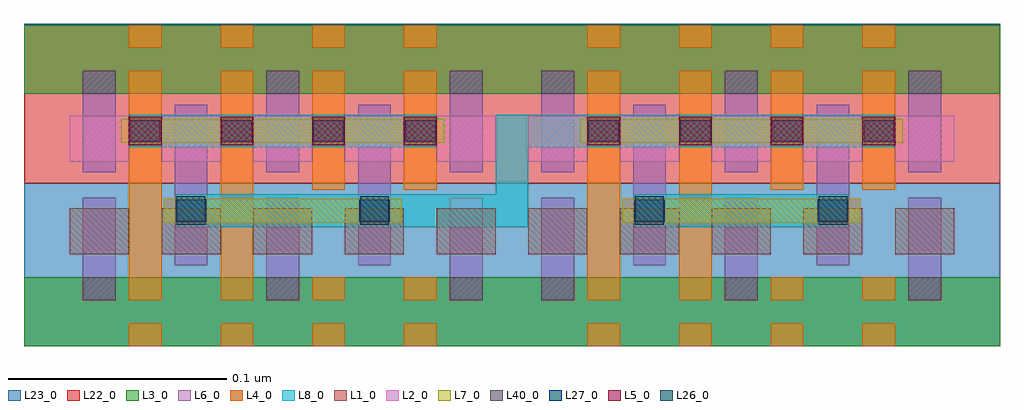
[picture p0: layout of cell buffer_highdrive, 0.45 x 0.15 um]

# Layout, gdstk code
import gdstk
lib = gdstk.Library(unit=1e-6, precision=2.5e-10)
def R(c, l, rs):  # rectangles x0, y0, x1, y1
    for r in rs: c.add(gdstk.rectangle(r[:2], r[2:], *l))
def A(c, l, x, y, w, h, nx, ny, dx, dy):  # array of equal rectangles
    R(c, l, [(x+i*dx, y+j*dy, x+i*dx+w, y+j*dy+h) for i in range(nx) for j in range(ny)])
def P(c, l, *ps):  # polygons
    for p in ps: c.add(gdstk.Polygon(p, *l))
L1_0 = (1, 0)
L2_0 = (2, 0)
L3_0 = (3, 0)
L4_0 = (4, 0)
L5_0 = (5, 0)
L6_0 = (6, 0)
L7_0 = (7, 0)
L8_0 = (8, 0)
L22_0 = (22, 0)
L23_0 = (23, 0)
L26_0 = (26, 0)
L27_0 = (27, 0)
L40_0 = (40, 0)

invx4 = lib.new_cell('invx4')
A(invx4, L1_0, 0.027, 0.042, 0.027, 0.021, 5, 1, 0.042, 0)
A(invx4, L2_0, 0.027, 0.0845, 0.027, 0.021, 5, 1, 0.042, 0)
R(invx4, L3_0, [(0.006,0,0.243,0.0315), (0.006,0.1155,0.243,0.147)])
A(invx4, L4_0, 0.054, 0, 0.015, 0.0105, 4, 2, 0.042, 0.1365)
R(invx4, L4_0, [(0.054,0.021,0.069,0.126), (0.096,0.021,0.111,0.126), (0.138,0.021,0.153,0.0315), (0.18,0.021,0.195,0.0315), (0.138,0.0715,0.153,0.126), (0.18,0.0715,0.195,0.126)])
A(invx4, L5_0, 0.054, 0.092, 0.015, 0.013, 4, 1, 0.042, 0)
A(invx4, L6_0, 0.033, 0.021, 0.015, 0.047, 3, 1, 0.084, 0)
A(invx4, L6_0, 0.033, 0.0795, 0.015, 0.0465, 3, 1, 0.084, 0)
R(invx4, L6_0, [(0.075,0.037,0.09,0.1105), (0.159,0.037,0.174,0.1105)])
R(invx4, L7_0, [(0.07,0.0565,0.179,0.0675), (0.0505,0.093,0.1985,0.104)])
R(invx4, L8_0, [(0.0755,0.0545,0.1735,0.0695), (0.0545,0.091,0.1945,0.106)])
R(invx4, L22_0, [(0.006,0.0745,0.243,0.147)])
R(invx4, L23_0, [(0.006,0,0.243,0.0745), (0.006,0.147,0.243,0.1475)])
R(invx4, L26_0, [(0.076,0.0555,0.089,0.0685), (0.16,0.0555,0.173,0.0685)])
A(invx4, L27_0, 0.0545, 0.0935, 0.014, 0.01, 4, 1, 0.042, 0)
R(invx4, L27_0, [(0.0755,0.057,0.0895,0.067), (0.1595,0.057,0.1735,0.067)])
A(invx4, L40_0, 0.033, 0.021, 0.015, 0.0105, 3, 2, 0.084, 0.0945)

buffer_highdrive = lib.new_cell('buffer_highdrive')
R(buffer_highdrive, L3_0, [(0.2825,0.012,0.293,0.018), (0.159,0.138,0.1675,0.143)])
R(buffer_highdrive, L8_0, [(0.3675,0.0575,0.3745,0.064), (0.2835,0.096,0.29,0.101)])
P(buffer_highdrive, L8_0, [(0.259,0.1055),(0.259,0.0905),(0.2315,0.0905),(0.2315,0.054),(0.168,0.054),(0.168,0.069),(0.2165,0.069),(0.2165,0.1055)])
buffer_highdrive.add(gdstk.Reference(invx4, (-0.0055,-0.0005)))
buffer_highdrive.add(gdstk.Reference(invx4, (0.2045,-0.0005)))

lib.write_gds('buffer_highdrive.gds')
